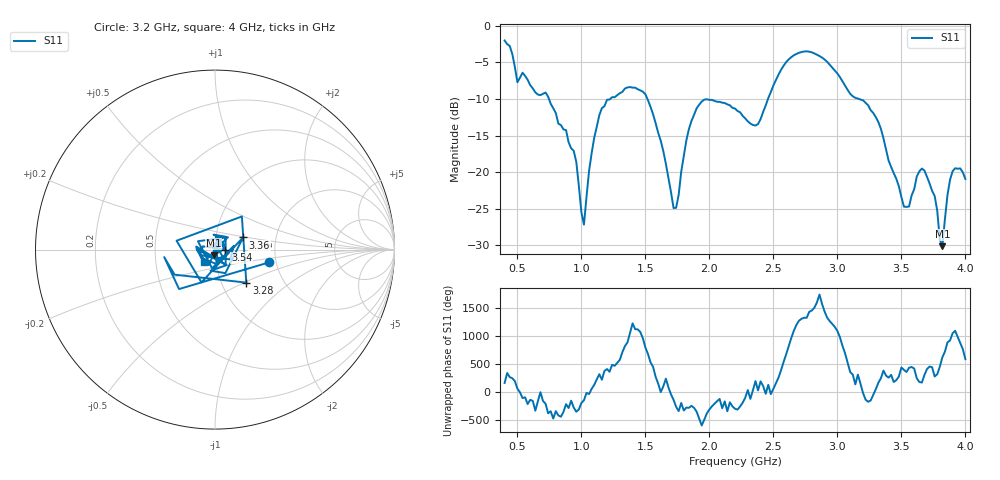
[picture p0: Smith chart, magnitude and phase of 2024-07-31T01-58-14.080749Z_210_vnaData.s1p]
!Created with skrf (http://scikit-rf.org).
# Hz S RI R 50.0
!freq ReS11 ImS11
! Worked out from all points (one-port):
!   181 points, 400 MHz to 4 GHz, reference 50 ohm
!   lowest |S11| = -30.1 dB at 3.82 GHz (marker M1), VSWR 1.06, Z = 49.3 - j3.03 ohm
!   |S11| at or under -10 dB: 746.3 MHz to 1.225 GHz (479 MHz wide, 48.6 % of centre); 1.516 GHz to 2.458 GHz (942.1 MHz wide, 47.4 % of centre); 3.167 GHz to end of sweep
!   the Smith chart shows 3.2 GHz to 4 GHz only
!   S11 on the Smith chart (normalised r, x): 3.2 GHz: 1.83, -0.29; 3.28 GHz: 1.31, -0.51; 3.36 GHz: 1.36, +0.19; 3.54 GHz: 1.12, -0.00; 4 GHz: 0.88, -0.12
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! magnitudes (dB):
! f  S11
! 400 MHz  -2.0
! 500 MHz  -7.7
! 720 MHz  -9.1
! 860 MHz  -14.2
! 960 MHz  -18.6
! 1.02 GHz  -27.2
! 1.06 GHz  -19.8
! 1.14 GHz  -12.2
! 1.3 GHz  -9.2
! 1.5 GHz  -9.4
! 1.72 GHz  -24.9
! 1.76 GHz  -23.1
! 1.82 GHz  -15.7
! 1.9 GHz  -11.3
! 2.2 GHz  -11.3
! 2.38 GHz  -13.4
! 2.66 GHz  -4.0
! 3.1 GHz  -9.3
! 3.2 GHz  -10.2
! 3.28 GHz  -11.9
! 3.36 GHz  -15.4
! 3.54 GHz  -24.7
! 3.56 GHz  -24.7
! 3.68 GHz  -19.8
! 3.76 GHz  -23.2
! 3.82 GHz  -30.1
! 3.9 GHz  -19.9
! 4 GHz  -20.9
